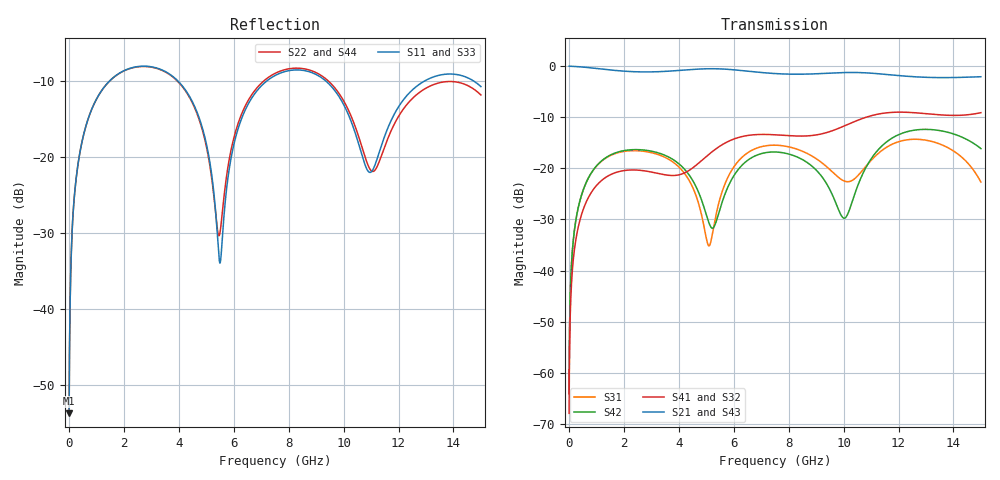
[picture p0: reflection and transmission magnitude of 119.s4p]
! Created with skrf 1.8.0 (http://scikit-rf.org).
# GHz S RI R 50.0
!freq ReS11 ImS11 ReS12 ImS12 ReS13 ImS13
! ReS14 ImS14
! ReS21 ImS21 ReS22 ImS22 ReS23 ImS23
! ReS24 ImS24
! ReS31 ImS31 ReS32 ImS32 ReS33 ImS33
! ReS34 ImS34
! ReS41 ImS41 ReS42 ImS42 ReS43 ImS43
! ReS44 ImS44
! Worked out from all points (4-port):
!   2499 points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, 5 MHz to 15 GHz, reference 50 ohm
!   strongest paths, dB at 5 MHz, 3.476 GHz, 7.19 GHz, 11.1 GHz, 15 GHz:
!     S21: 0.0, -1.0, -1.3, -1.4, -2.1
!     S43: 0.0, -1.0, -1.3, -1.4, -2.1
!     S41: -67.9, -21.2, -13.4, -9.6, -9.1
!     S32: -67.9, -21.3, -13.4, -9.6, -9.1
!     S42: -64.1, -17.4, -16.9, -17.4, -16.1
!     S31: -64.1, -17.8, -15.6, -17.9, -22.7
!   lowest |S11| = -53.7 dB at 5 MHz (marker M1), VSWR 1.00, Z = 50.2 + j0.125 ohm
!   |S11| at or under -10 dB: start of sweep to 1.473 GHz; 3.972 GHz to 7.196 GHz (3.224 GHz wide, 57.7 % of centre); 9.357 GHz to 12.94 GHz (3.584 GHz wide, 32.1 % of centre) (the widest 3 of 4)
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0.005  0.00164 0.00125  0.9983 -0.00319  8.13e-05 0.000622  -7.91e-05 -0.000394
       0.9983 -0.00319  0.00164 0.00125  -7.91e-05 -0.000394  8.14e-05 0.000621
       8.13e-05 0.000622  -7.91e-05 -0.000394  0.00164 0.00125  0.9983 -0.00319
       -7.91e-05 -0.000394  8.14e-05 0.000621  0.9983 -0.00319  0.00164 0.00125
0.3126303  0.024 0.0822  0.9673 -0.1985  0.0104 0.037  -0.00886 -0.0232
           0.9673 -0.1985  0.024 0.0822  -0.00886 -0.0232  0.0108 0.0369
           0.0104 0.037  -0.00886 -0.0232  0.024 0.0822  0.9673 -0.1985
           -0.00886 -0.0232  0.0108 0.0369  0.9673 -0.1985  0.024 0.0822
1.569404  0.2757 0.1786  0.5417 -0.7349  0.1214 0.0608  -0.088 -0.00512
          0.5417 -0.7349  0.274 0.1797  -0.088 -0.00516  0.1264 0.0539
          0.1214 0.0608  -0.088 -0.00516  0.2757 0.1785  0.5417 -0.7349
          -0.088 -0.00512  0.1264 0.0539  0.5417 -0.7349  0.274 0.1797
5.49604  0.02 -0.00118  -0.9378 -0.05  0.0294 0.0407  -0.00354 0.1649
         -0.9378 -0.05  0.0307 0.00766  -0.0045 0.1649  -0.0167 0.036
         0.0294 0.0407  -0.0045 0.1649  0.0194 -0.000775  -0.9378 -0.0497
         -0.00354 0.1649  -0.0167 0.036  -0.9378 -0.0497  0.0314 0.00804
8.484785  0.3723 -0.0238  0.00848 0.8333  0.1037 -0.105  0.2001 -0.0524
          0.00848 0.8333  0.3815 -0.0331  0.2004 -0.0509  0.1017 -0.0684
          0.1037 -0.105  0.2004 -0.0509  0.3741 -0.022  0.00862 0.8327
          0.2001 -0.0524  0.1017 -0.0684  0.00862 0.8327  0.3827 -0.0351
11.25469  0.0915 0.0441  0.8424 -0.0141  -0.000604 0.1393  -0.0222 -0.3383
          0.8424 -0.0141  0.0868 0.021  -0.0197 -0.3377  0.0585 0.1397
          -0.000604 0.1393  -0.0197 -0.3377  0.0966 0.0432  0.8423 -0.0141
          -0.0222 -0.3383  0.0585 0.1397  0.8423 -0.0141  0.0818 0.0197
15  0.2528 -0.1443  -0.3476 -0.7057  0.014 -0.072  -0.2998 0.1807
    -0.3476 -0.7057  0.2363 -0.0992  -0.3024 0.1745  -0.00606 -0.1559
    0.014 -0.072  -0.3024 0.1745  0.257 -0.1526  -0.3458 -0.7042
    -0.2998 0.1807  -0.00606 -0.1559  -0.3458 -0.7042  0.2446 -0.0966
